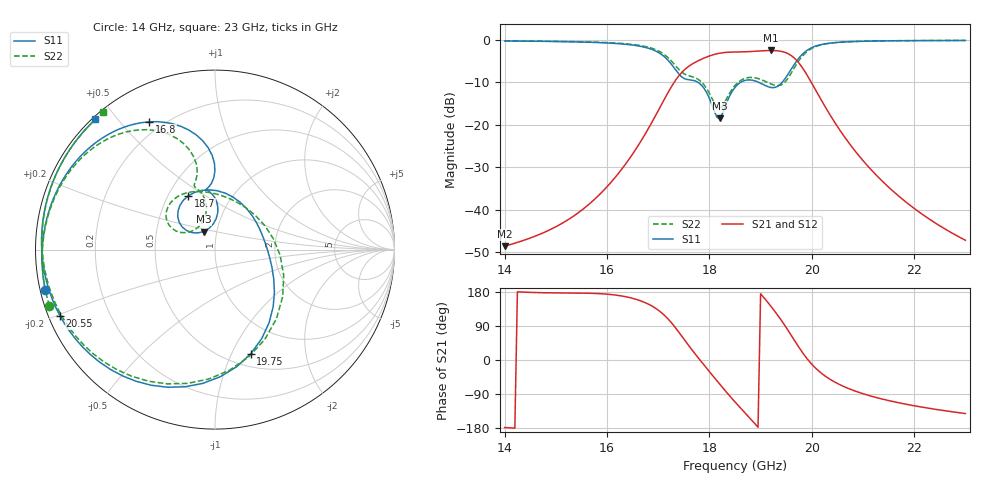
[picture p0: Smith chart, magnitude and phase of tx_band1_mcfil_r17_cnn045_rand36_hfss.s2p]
! Touchstone file exported from HFSS 3D Layout Design 2026.1.0
!  File:  D:/Work/SIM/ADS_AUTO_SIM/projects/RFSOC_RF/TX_Fillter.aedt
!  Generated:  12:55:55 AM Aug 31, 2026
!  Design:  TX_BAND1_MCFIL_R17_CNN045
!  Project:  TX_Fillter
# GHz S MA R 50.000000
! Terminal data exported
! Port[1] = Port1
! Port[2] = Port2
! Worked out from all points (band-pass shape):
!   181 points, 14 GHz to 23 GHz, reference 50 ohm
!   highest |S21| = -2.49 dB at 19.2 GHz (marker M1); lowest = -48.5 dB at 14 GHz (marker M2)
!   |S21| within 3 dB of the highest: 17.69 GHz to 19.75 GHz (2.062 GHz wide, 11 % of centre)
!   lowest |S11| = -18.5 dB at 18.2 GHz (marker M3), VSWR 1.27, Z = 43.2 + j8.81 ohm
!   |S11| at or under -10 dB: 17.78 GHz to 18.61 GHz (830.1 MHz wide, 4.56 % of centre); 18.97 GHz to 19.42 GHz (452.4 MHz wide, 2.36 % of centre)
!   |S22| runs from -16.1 to -0.1 dB; largest |S21 - S12| = 1.8e-14
!   S11 on the Smith chart (normalised r, x): 14 GHz: 0.01, -0.12; 16.8 GHz: 0.15, +0.60; 18.7 GHz: 0.63, +0.43; 19.75 GHz: 0.64, -1.19; 20.55 GHz: 0.03, -0.20; 23 GHz: 0.01, +0.44
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14  0.9722 -166.5  0.003743 -178.2  0.003743 -178.2  0.9745 -161.2
15.5  0.9442 162.6  0.009864 176.6  0.009864 176.6  0.95 169.2
16.25  0.9008 140.9  0.02816 169.8  0.02816 169.8  0.9118 148.9
16.8  0.8008 117.2  0.08882 148.0  0.08882 148.0  0.8228 127.3
17  0.7139 105.6  0.1469 131.6  0.1469 131.6  0.7443 116.8
17.3  0.4795 90.4  0.3087 91.5  0.3087 91.5  0.5284 102.8
17.55  0.3436 97.3  0.4654 46.3  0.4654 46.3  0.3872 106.9
17.9  0.2668 88.0  0.6132 -14.0  0.6132 -14.0  0.2937 101.8
18.2  0.1191 122.4  0.6975 -63.5  0.6975 -63.5  0.1558 130.8
18.5  0.2762 138.7  0.7204 -110.6  0.7204 -110.6  0.2918 151.8
18.7  0.3346 116.3  0.7247 -140.1  0.7247 -140.1  0.354 137.7
18.95  0.3196 79.7  0.7389 -177.4  0.7389 -177.4  0.351 114.6
19.2  0.2754 32.8  0.7507 142.1  0.7507 142.1  0.3038 83.6
19.35  0.289 2.0  0.7421 115.2  0.7421 115.2  0.2899 53.3
19.5  0.3657 -26.5  0.7048 85.7  0.7048 85.7  0.3311 10.4
19.65  0.506 -53.4  0.6187 54.1  0.6187 54.1  0.4594 -34.8
19.75  0.613 -71.0  0.5333 33.2  0.5333 33.2  0.5722 -61.0
20  0.8112 -109.0  0.3091 -11.2  0.3091 -11.2  0.7939 -109.6
20.25  0.8974 -135.5  0.1677 -41.3  0.1677 -41.3  0.8927 -139.5
20.55  0.939 -156.9  0.08635 -65.3  0.08635 -65.3  0.9394 -161.9
21.5  0.9753 165.2  0.01852 -107.0  0.01852 -107.0  0.9768 160.6
23  0.9847 132.6  0.004395 -141.3  0.004395 -141.3  0.9852 129.2
